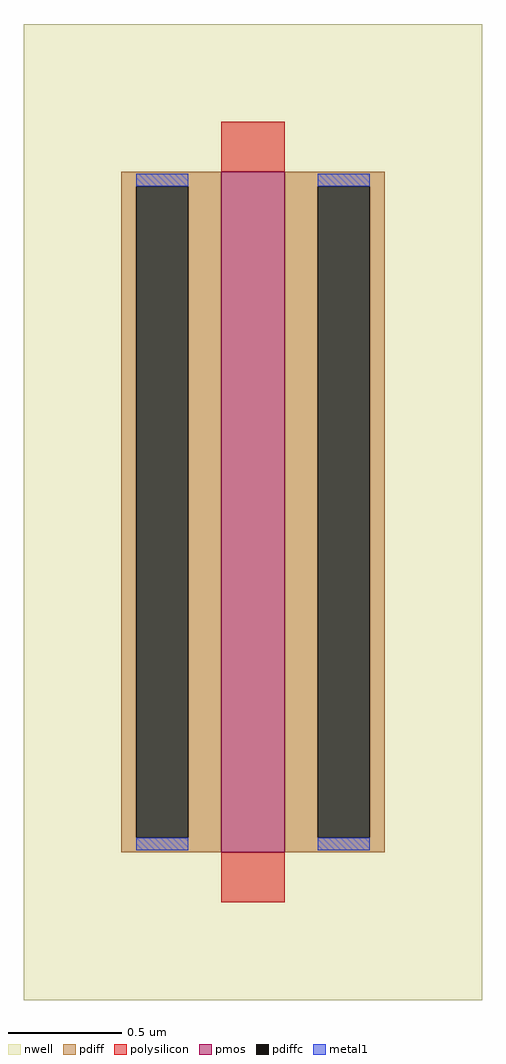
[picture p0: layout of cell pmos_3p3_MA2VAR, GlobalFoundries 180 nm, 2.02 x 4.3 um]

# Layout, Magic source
magic
tech gf180mcuC
magscale 1 10
<< nwell >>
rect -202 -430 202 430
<< pmos >>
rect -28 -300 28 300
<< pdiff >>
rect -116 287 -28 300
rect -116 -287 -103 287
rect -57 -287 -28 287
rect -116 -300 -28 -287
rect 28 287 116 300
rect 28 -287 57 287
rect 103 -287 116 287
rect 28 -300 116 -287
<< pdiffc >>
rect -103 -287 -57 287
rect 57 -287 103 287
<< polysilicon >>
rect -28 300 28 344
rect -28 -344 28 -300
<< metal1 >>
rect -103 287 -57 298
rect -103 -298 -57 -287
rect 57 287 103 298
rect 57 -298 103 -287
<< properties >>
string gencell pmos_3p3
string library gf180mcu
string parameters w 3 l 0.280 m 1 nf 1 diffcov 100 polycov 100 guard 0 glc 0 grc 0 gtc 0 gbc 0 tbcov 100 rlcov 100 topc 0 botc 0 poverlap 0 doverlap 1 lmin 0.28 wmin 0.22 full_metal 0 compatible {pmos_3p3 pmos_6p0}
<< end >>
